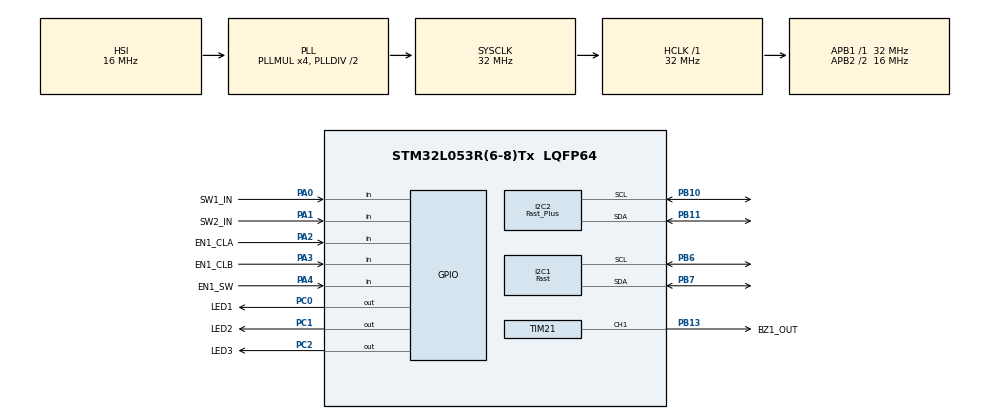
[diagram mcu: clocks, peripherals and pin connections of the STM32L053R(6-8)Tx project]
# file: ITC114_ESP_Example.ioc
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I2C1.I2C_Fall_Time=0
I2C1.I2C_Rise_Time=0
I2C1.I2C_Speed_Mode=I2C_Fast
I2C1.Timing=0x00300F38
I2C2.I2C_Speed_Mode=I2C_Fast_Plus
I2C2.Timing=0x0040040C
Mcu.Family=STM32L0
Mcu.Name=STM32L053R(6-8)Tx
Mcu.Package=LQFP64
NVIC.TIM6_DAC_IRQn=true\:0\:0\:false\:false\:true\:true\:true\:true
PA0.GPIO_Label=SW1_IN
PA0.Signal=GPIO_Input
PA1.GPIO_Label=SW2_IN
PA1.Signal=GPIO_Input
PA2.GPIO_Label=EN1_CLA
PA2.Signal=GPIO_Input
PA3.GPIO_Label=EN1_CLB
PA3.Signal=GPIO_Input
PA4.GPIO_Label=EN1_SW
PA4.Signal=GPIO_Input
PB10.Mode=I2C
PB10.Signal=I2C2_SCL
PB11.Mode=I2C
PB11.Signal=I2C2_SDA
PB13.GPIO_Label=BZ1_OUT
PB13.Signal=S_TIM21_CH1
PB6.GPIO_Pu=GPIO_PULLUP
PB6.Mode=I2C
PB6.Signal=I2C1_SCL
PB7.GPIO_Pu=GPIO_PULLUP
PB7.Mode=I2C
PB7.Signal=I2C1_SDA
PC0.GPIO_Label=LED1
PC0.PinState=GPIO_PIN_SET
PC0.Signal=GPIO_Output
PC1.GPIO_Label=LED2
PC1.PinState=GPIO_PIN_SET
PC1.Signal=GPIO_Output
PC14-OSC32_IN.Mode=LSE-External-Oscillator
PC14-OSC32_IN.Signal=RCC_OSC32_IN
PC15-OSC32_OUT.Mode=LSE-External-Oscillator
PC15-OSC32_OUT.Signal=RCC_OSC32_OUT
PC2.GPIO_Label=LED3
PC2.PinState=GPIO_PIN_SET
PC2.Signal=GPIO_Output
ProjectManager.HeapSize=0x200
ProjectManager.StackSize=0x400
ProjectManager.TargetToolchain=STM32CubeIDE
RCC.AHBFreq_Value=32000000
RCC.APB1Freq_Value=32000000
RCC.APB1TimFreq_Value=32000000
RCC.APB2CLKDivider=RCC_HCLK_DIV2
RCC.APB2Freq_Value=16000000
RCC.APB2TimFreq_Value=32000000
RCC.HCLKFreq_Value=32000000
RCC.HSE_VALUE=8000000
RCC.HSI16_VALUE=16000000
RCC.HSI48MClockSelection=RCC_USBCLKSOURCE_HSI48
RCC.HSI48_VALUE=48000000
RCC.HSI_VALUE=16000000
RCC.MSI_VALUE=2097000
RCC.PLLMUL=RCC_PLLMUL_4
RCC.RTCClockSelection=RCC_RTCCLKSOURCE_LSE
RCC.RTCClockSelectionVirtual=RCC_RTCCLKSOURCE_LSE
RCC.SYSCLKFreq_VALUE=32000000
RCC.SYSCLKSource=RCC_SYSCLKSOURCE_PLLCLK
RCC.VCOOutputFreq_Value=64000000
SH.S_TIM21_CH1.0=TIM21_CH1,PWM Generation1 CH1
TIM21.Channel-PWM\ Generation1\ CH1=TIM_CHANNEL_1
TIM21.Period=99
TIM21.Prescaler=319
TIM6.Period=99
TIM6.Prescaler=319
VP_RTC_VS_RTC_Activate.Mode=RTC_Enabled
VP_TIM21_VS_ClockSourceINT.Mode=Internal
VP_TIM6_VS_ClockSourceINT.Mode=Enable_Timer
board=custom

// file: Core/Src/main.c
/* USER CODE BEGIN Header */
/**
  ******************************************************************************
  * @file           : main.c
  * @brief          : Main program body
  ******************************************************************************
  * @attention
  *
  * Copyright (c) 2025 STMicroelectronics.
  * All rights reserved.
  *
  * This software is licensed under terms that can be found in the LICENSE file
  * in the root directory of this software component.
  * If no LICENSE file comes with this software, it is provided AS-IS.
  *
  ******************************************************************************
  */
/* USER CODE END Header */
#include "main.h"
#include "i2c.h"
#include "rtc.h"
#include "tim.h"
#include "gpio.h"

/* USER CODE BEGIN Includes */
#include "ssd1306.h"
#include "fonts.h"
#include "tmp1075.h"
#include "tps55289.h"
#include "ina226.h"
#include <stdio.h>
/* USER CODE END Includes */

/* USER CODE BEGIN PD */
#define SW1_Read HAL_GPIO_ReadPin(SW1_IN_GPIO_Port, SW1_IN_Pin)
#define SW2_Read HAL_GPIO_ReadPin(SW2_IN_GPIO_Port, SW2_IN_Pin)
#define EN1_SW_Read HAL_GPIO_ReadPin(EN1_SW_GPIO_Port, EN1_SW_Pin)

#define EN1_CLA HAL_GPIO_ReadPin(EN1_CLA_GPIO_Port, EN1_CLA_Pin)
#define EN1_CLB HAL_GPIO_ReadPin(EN1_CLB_GPIO_Port, EN1_CLB_Pin)

#define LED1(x) HAL_GPIO_WritePin(LED1_GPIO_Port, LED1_Pin, x ? 1 : 0)
#define LED2(x) HAL_GPIO_WritePin(LED2_GPIO_Port, LED2_Pin, x ? 1 : 0)
#define LED3(x) HAL_GPIO_WritePin(LED3_GPIO_Port, LED3_Pin, x ? 1 : 0)

#define EEPROM_ADDR_BASE 0x08080000
#define EEPROM_ADDR_BZ_state	 	(EEPROM_ADDR_BASE)		// size = 4 byte
#define EEPROM_ADDR_BZ_freq 	 	(EEPROM_ADDR_BASE + 4)	// size = 4 byte
#define EEPROM_ADDR_OLED_contrast 	(EEPROM_ADDR_BASE + 8)	// size = 4 byte
#define EEPROM_ADDR_Vset 			(EEPROM_ADDR_BASE + 16)	// size = 4 byte
#define EEPROM_ADDR_Ilim 			(EEPROM_ADDR_BASE + 32)	// size = 4 byte

RTC_TimeTypeDef sTime;
RTC_DateTypeDef sDate;
int mode;
char *SW_STATE[] = {"ON","OFF"};
int SW1,SW2,SW3;
int cnt,lastCLA;
int timerSW1,task;
int freq;
int menu,lastEN1;
int buzz,light;
int lastSW1,lastSW2;
int timerbuzz;
int timer;
/* USER CODE END PD */

/* USER CODE BEGIN PV */

TMP1075_Handle_t TMP1075_U7;

TPS55289_Handle_t TPS55289_U5;
TPS55289_Status_t TPS55289_output_state;

INA226_Handle_t INA226_U3;
INA226_Handle_t INA226_U8;

float Input_voltage = 0.0;
float Input_current = 0.0;

float temperature = 0.0;

char OLED_buf[22];

/* USER CODE END PV */

void SystemClock_Config(void);

int main(void)
{

  /* MCU Configuration--------------------------------------------------------*/

  /* Reset of all peripherals, Initializes the Flash interface and the Systick. */
  HAL_Init();

  /* Configure the system clock */
  SystemClock_Config();

  /* Initialize all configured peripherals */
  MX_GPIO_Init();
  MX_I2C1_Init();
  MX_I2C2_Init();
  MX_TIM6_Init();
  MX_TIM21_Init();
  MX_RTC_Init();
  /* USER CODE BEGIN 2 */

/* -------------------------------- Initial the OLED --------------------------------*/
    ssd1306_Init(&hi2c2);

/* -------------------------------- Initial the TMP1075 --------------------------------*/
    TMP1075_Init(&TMP1075_U7, &hi2c1, TMP1075_DEFAULT_ADDR);

/* -------------------------------- Initial the Read Input INA226 U3 --------------------------------*/
    INA226_Init(&INA226_U3, &hi2c1, 0x40);
    INA226_WriteConfig(&INA226_U3, INA226_AVG_16, INA226_CT_1100US, INA226_CT_1100US, true);
    INA226_SetCalibration(&INA226_U3, 0.010f, 0.00025f);

/* -------------------------------- Initial the Read Output INA226 U8 --------------------------------*/
    INA226_Init(&INA226_U8, &hi2c1, 0x45);
    INA226_WriteConfig(&INA226_U8, INA226_AVG_16, INA226_CT_1100US, INA226_CT_1100US, true);
    INA226_SetCalibration(&INA226_U8, 0.010f, 0.00025f);

/* -------------------------------- Initial the TPS55289 --------------------------------*/
    TPS55289_Init(&TPS55289_U5, &hi2c1, TPS55289_ADDR_75);

/* -------------------------------- Initial the Base Timer, Period = 1ms --------------------------------*/
    HAL_TIM_Base_Start_IT(&htim6);
    HAL_TIM_PWM_Start(&htim21, TIM_CHANNEL_1);
/* -------------------------------- Set the TPS55289 Output  --------------------------------*/
    TPS55289_SetVout(&TPS55289_U5, 0.0f);		// Set TPS55289 Output Voltage = 0.0 V
    TPS55289_SetIlimit(&TPS55289_U5, 0.1f);		// Set TPS55289 Current Limit  = 0.1 A
    TPS55289_EnableOut(&TPS55289_U5, OFF);		// Set TPS55289 Output = OFF

/* -------------------------------- OLED display example --------------------------------*/
//	  ssd1306_SetCursor(0, 0);
//	  ssd1306_WriteString("Welcome to ITC 114", Font_7x10, White);
//
//	  ssd1306_SetCursor(0, 10);
//	  ssd1306_WriteString("This font is 7x10", Font_7x10, White);
//
//	  ssd1306_SetCursor(0, 20);
//	  ssd1306_WriteString("This font", Font_11x18, White);
//
//	  ssd1306_SetCursor(0, 38);
//	  ssd1306_WriteString("is 11x18", Font_11x18, White);
//
//	  ssd1306_UpdateScreen(&hi2c2);
    sTime.Hours = 23;
    sTime.Minutes = 59;
    sTime.Seconds = 50;
//    HAL_RTC_GetDate(&hrtc, &sDate, RTC_FORMAT_BIN);
//    HAL_RTC_GetTime(&hrtc, &sTime, RTC_FORMAT_BIN);
    cnt = 50;
    if(SW1_Read == 0)
    {
    	mode = 0;
    }
    else mode = 1;

  /* USER CODE END 2 */

  /* Infinite loop */
  /* USER CODE BEGIN WHILE */
  while (1)
  {

/* -------------------------------- Read TPS55289 status Register --------------------------------*/
	  TPS55289_ReadStatus(&TPS55289_U5, &TPS55289_output_state);

/* -------------------------------- Read TMP1075 temperature --------------------------------*/
	  TMP1075_ReadTemperatureC(&TMP1075_U7, &temperature);		// temperature's unit = 'c

/* -------------------------------- Read INA226 Input voltage and current --------------------------------*/
	  INA226_ReadBusVoltage_V(&INA226_U3, &Input_voltage);		// Read Input Voltage, Unit = V
	  INA226_ReadCurrent_A(&INA226_U3, &Input_current);			// Read Input Current, Unit = A

	  HAL_Delay(1);

	  if(timer == 0)
	  {
		  timer = 1000;
		  sTime.Seconds ++;
	  }
	  if(sTime.Seconds >= 60)
	  {
		  sTime.Seconds = 0;
		  sTime.Minutes ++ ;
	  }
	  if(sTime.Minutes >= 60)
	  {
		  sTime.Minutes = 0;
		  sTime.Hours ++;
	  }
	  if(sTime.Hours >= 24)
	  {
		  sTime.Hours = 0;

	  }
	  if(mode == 0)
	  {
		 if(SW1_Read == 0)
		 {
			 LED1(0);
			 SW1 = 0;
		 }
		 else
		 {
			 LED1(1);
			 SW1 = 1;
		 }
		 if(EN1_SW_Read == 0)
		 {
			 LED2(0);
			 SW2 = 0;
		 }
		 else
		 {
			 LED2(1);
			 SW2 = 1;
		 }
		 if(SW2_Read == 0)
		 {
			 LED3(0);
			 SW3 = 0;
		 }
		 else
		 {
			 LED3(1);
			 SW3 = 1;
		 }
		 ssd1306_Fill(Black);
		 ssd1306_SetCursor(0, 0);
		 ssd1306_WriteString("ITC114 Electronics", Font_7x10, White);
		 ssd1306_SetCursor(0, 10);
		 ssd1306_WriteString("Competitor:30", Font_7x10, White);
		 ssd1306_SetCursor(0, 20);
		 sprintf(OLED_buf,"SW1:%3s EN1_SW:%-3s",SW_STATE[SW1],SW_STATE[SW2]);
		 ssd1306_WriteString(OLED_buf, Font_7x10, White);
		 ssd1306_SetCursor(0, 30);
		 sprintf(OLED_buf,"SW2:%s",SW_STATE[SW3]);
		 ssd1306_WriteString(OLED_buf, Font_7x10, White);
		 ssd1306_SetCursor(0, 40);
		 sprintf(OLED_buf,"Rotary:%d",cnt);
		 ssd1306_WriteString(OLED_buf, Font_7x10, White);
		 ssd1306_SetCursor(0, 50);
		 sprintf(OLED_buf,"SystemRTC:%2d:%2d:%2d",sTime.Hours,sTime.Minutes,sTime.Seconds);
		 ssd1306_WriteString(OLED_buf, Font_7x10, White);
		 ssd1306_UpdateScreen(&hi2c2);

	  }
	  else if(mode == 1)
		{

		  if(task == 1)
		  {
			  if(EN1_SW_Read == 1 && lastEN1 == 0)
			  		  {
			  			  menu = (menu + 1) % 3;
			  		  }
			  		  lastEN1 = EN1_SW_Read;

			  ssd1306_Fill(Black);
			  ssd1306_SetCursor(2, 0);
			  ssd1306_WriteString("System Settings:", Font_7x10, White);
			  ssd1306_SetCursor(2, 10);
			  ssd1306_WriteString("Buzz:", Font_11x18, White);
			  ssd1306_SetCursor(57, 10);
			  sprintf(OLED_buf,"%s",SW_STATE[buzz]);
			  ssd1306_WriteString(OLED_buf, Font_11x18, menu == 0 ? Black : White);
			  ssd1306_SetCursor(2, 28);
			  ssd1306_WriteString("Bz_F:", Font_11x18, White);
			  ssd1306_SetCursor(57, 28);
			  sprintf(OLED_buf,"%d",freq);
			  ssd1306_WriteString(OLED_buf, Font_11x18, menu == 1 ? Black : White);
			  ssd1306_SetCursor(90, 28);
			  ssd1306_WriteString("kHz", Font_11x18, White);
			  ssd1306_SetCursor(2, 46);
			  ssd1306_WriteString("OLED", Font_11x18, White);
			  ssd1306_SetCursor(57, 46);
			  sprintf(OLED_buf,"%d",light);
			  ssd1306_WriteString(OLED_buf, Font_11x18, menu == 2 ? Black : White);
			  ssd1306_SetCursor(90, 46);
			  ssd1306_WriteString("%", Font_11x18, White);
			  ssd1306_UpdateScreen(&hi2c2);

		  }
		  else if(task == 0)
		  {
			  LED1(0);
			  if(EN1_SW_Read == 1 && lastEN1 == 0)
			  		  {
			  			  menu = (menu + 1) % 3;
			  		  }
			  lastEN1 = EN1_SW_Read;
//			  if((SW1_Read == 1 && lastSW1 == 0) || (EN1_SW_Read == 1 && lastEN1 == 0) || (SW2_Read == 1 && lastSW2 == 0))
//			  {
//
//			  }
//			  lastSW1 = SW1_Read;
//			  lastEN1 = EN1_SW_Read;
//			  lastSW2 = SW1_Read;

			  ssd1306_Fill(Black);
			  ssd1306_SetCursor(0, 0);
			  ssd1306_WriteString("CC.CV D.DDA EE.EC", Font_7x10, White);
			  ssd1306_SetCursor(0, 10);
			  ssd1306_WriteString("Vset:", Font_11x18, White);
			  ssd1306_SetCursor(55, 10);
			  sprintf(OLED_buf,"%.2f",(float)cnt);
			  ssd1306_WriteString(OLED_buf, Font_11x18, menu == 0 ? Black : White);
			  ssd1306_SetCursor(110, 10);
			  ssd1306_WriteString("V", Font_11x18, White);
			  ssd1306_SetCursor(0, 28);
			  ssd1306_WriteString("Ilim:BB.BBA", Font_11x18, menu == 1 ? Black : White);
			  ssd1306_SetCursor(0, 46);
			  ssd1306_WriteString("Output:OFF", Font_7x10, menu == 2 ? Black : White);
			  ssd1306_UpdateScreen(&hi2c2);
		  }
		}

    /* USER CODE END WHILE */

  }
}

void SystemClock_Config(void)
{
  RCC_OscInitTypeDef RCC_OscInitStruct = {0};
  RCC_ClkInitTypeDef RCC_ClkInitStruct = {0};
  RCC_PeriphCLKInitTypeDef PeriphClkInit = {0};

  /** Configure the main internal regulator output voltage
  */
  __HAL_PWR_VOLTAGESCALING_CONFIG(PWR_REGULATOR_VOLTAGE_SCALE1);

  /** Configure LSE Drive Capability
  */
  HAL_PWR_EnableBkUpAccess();
  __HAL_RCC_LSEDRIVE_CONFIG(RCC_LSEDRIVE_LOW);

  /** Initializes the RCC Oscillators according to the specified parameters
  * in the RCC_OscInitTypeDef structure.
  */
  RCC_OscInitStruct.OscillatorType = RCC_OSCILLATORTYPE_HSI|RCC_OSCILLATORTYPE_LSE;
  RCC_OscInitStruct.LSEState = RCC_LSE_ON;
  RCC_OscInitStruct.HSIState = RCC_HSI_ON;
  RCC_OscInitStruct.HSICalibrationValue = RCC_HSICALIBRATION_DEFAULT;
  RCC_OscInitStruct.PLL.PLLState = RCC_PLL_ON;
  RCC_OscInitStruct.PLL.PLLSource = RCC_PLLSOURCE_HSI;
  RCC_OscInitStruct.PLL.PLLMUL = RCC_PLLMUL_4;
  RCC_OscInitStruct.PLL.PLLDIV = RCC_PLLDIV_2;
  if (HAL_RCC_OscConfig(&RCC_OscInitStruct) != HAL_OK)
  {
    Error_Handler();
  }

  /** Initializes the CPU, AHB and APB buses clocks
  */
  RCC_ClkInitStruct.ClockType = RCC_CLOCKTYPE_HCLK|RCC_CLOCKTYPE_SYSCLK
                              |RCC_CLOCKTYPE_PCLK1|RCC_CLOCKTYPE_PCLK2;
  RCC_ClkInitStruct.SYSCLKSource = RCC_SYSCLKSOURCE_PLLCLK;
  RCC_ClkInitStruct.AHBCLKDivider = RCC_SYSCLK_DIV1;
  RCC_ClkInitStruct.APB1CLKDivider = RCC_HCLK_DIV1;
  RCC_ClkInitStruct.APB2CLKDivider = RCC_HCLK_DIV2;

  if (HAL_RCC_ClockConfig(&RCC_ClkInitStruct, FLASH_LATENCY_1) != HAL_OK)
  {
    Error_Handler();
  }
  PeriphClkInit.PeriphClockSelection = RCC_PERIPHCLK_I2C1|RCC_PERIPHCLK_RTC;
  PeriphClkInit.I2c1ClockSelection = RCC_I2C1CLKSOURCE_PCLK1;
  PeriphClkInit.RTCClockSelection = RCC_RTCCLKSOURCE_LSE;
  if (HAL_RCCEx_PeriphCLKConfig(&PeriphClkInit) != HAL_OK)
  {
    Error_Handler();
  }
}

/* USER CODE BEGIN 4 */
void HAL_TIM_PeriodElapsedCallback(TIM_HandleTypeDef *htim)
{

	if(timer > 0)timer -- ;
	if(htim == &htim6)	// 1 ms Timer
	{
		if(timerbuzz > 0)
			{
				timerbuzz -- ;
				TIM21 -> CCR1 = 0;
				TIM21 -> ARR = freq * 1000;
			}
		if(EN1_CLA == 1 && lastCLA == 0)
			{
				if(EN1_CLB == 1)
				{
					cnt ++;

					if(menu == 0)buzz = 1;
					else if (menu == 1)freq --;
					else if(menu == 2)light = light - 5;
				}
				else
				{

					cnt -- ;
					if(menu == 0)buzz = 0;
					else if (menu == 1)freq ++ ;
					else if(menu == 2)light = light + 5;
				}
			}
			lastCLA = EN1_CLA;
			if(cnt > 100)cnt = 100;
			else if(cnt < 0)cnt = 0;
			if(freq > 10)freq = 10;
			else if(freq < 1)freq = 1;
			if(light > 100)light = 100;
			else if(light < 0)light = 0;
	  if(SW1_Read == 0)
	  {
		  timerSW1 -- ;
		  if(timerSW1 == 0)
		  		  {
		  			  task = (task + 1) % 2;
		  		  }
	  }
	  else timerSW1 = 1500;

//	  if(task == 0)
//	  		  {
//	  			  if((SW1_Read == 1 && lastSW1 == 0) || (EN1_SW_Read == 1 && lastEN1 == 0) || (SW2_Read == 1 && lastSW2 == 0))
//	  			  {
//	  				  timerbuzz = 50;
//	  			  }
//	  			  lastSW1 = SW1_Read;
//	  			  lastEN1 = EN1_SW_Read;
//	  			  lastSW2 = SW1_Read;
//
//
//	  		  }

	}
}

/* USER CODE END 4 */

void Error_Handler(void)
{
  __disable_irq();
  while (1)
  {
  }
}
